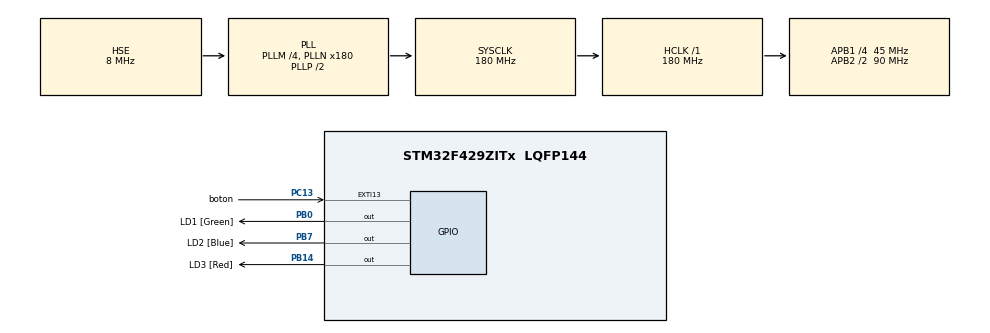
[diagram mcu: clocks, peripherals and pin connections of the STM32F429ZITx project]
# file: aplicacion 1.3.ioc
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Mcu.Family=STM32F4
Mcu.Name=STM32F429ZITx
Mcu.Package=LQFP144
NVIC.PriorityGroup=NVIC_PRIORITYGROUP_4
PB0.GPIO_Label=LD1 [Green]
PB0.Signal=GPIO_Output
PB14.GPIO_Label=LD3 [Red]
PB14.Signal=GPIO_Output
PB7.GPIO_Label=LD2 [Blue]
PB7.Signal=GPIO_Output
PC13.GPIO_Label=boton
PC13.Signal=GPXTI13
PH0/OSC_IN.GPIO_Label=MCO [STM32F103CBT6_PA8]
PH0/OSC_IN.Mode=HSE-External-Oscillator
PH0/OSC_IN.Signal=RCC_OSC_IN
PH1/OSC_OUT.Mode=HSE-External-Oscillator
PH1/OSC_OUT.Signal=RCC_OSC_OUT
ProjectManager.HeapSize=0x200
ProjectManager.StackSize=0x400
ProjectManager.TargetToolchain=STM32CubeIDE
RCC.48MHZClocksFreq_Value=51428571.428571425
RCC.AHBFreq_Value=180000000
RCC.APB1CLKDivider=RCC_HCLK_DIV4
RCC.APB1Freq_Value=45000000
RCC.APB1TimFreq_Value=90000000
RCC.APB2CLKDivider=RCC_HCLK_DIV2
RCC.APB2Freq_Value=90000000
RCC.APB2TimFreq_Value=180000000
RCC.CortexFreq_Value=180000000
RCC.HCLKFreq_Value=180000000
RCC.HSE_VALUE=8000000
RCC.HSI_VALUE=16000000
RCC.LSE_VALUE=32768
RCC.PLLM=4
RCC.PLLMUL=RCC_PLL_MUL9
RCC.PLLN=180
RCC.PLLQ=7
RCC.PLLSourceVirtual=RCC_PLLSOURCE_HSE
RCC.PRESCALERUSB=RCC_USBCLKSOURCE_PLL_DIV1_5
RCC.SYSCLKFreq_VALUE=180000000
RCC.SYSCLKSource=RCC_SYSCLKSOURCE_PLLCLK
RCC.SYSCLKSourceVirtual=RCC_SYSCLKSOURCE_PLLCLK
RCC.USBFreq_Value=48000000
RCC.VCOOutputFreq_Value=360000000
board=NUCLEO-F429ZI

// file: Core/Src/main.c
/* USER CODE BEGIN Header */
/**
  ******************************************************************************
  * @file           : main.c
  * @brief          : Main program body
  ******************************************************************************
  * @attention
  *
  * Copyright (c) 2026 STMicroelectronics.
  * All rights reserved.
  *
  * This software is licensed under terms that can be found in the LICENSE file
  * in the root directory of this software component.
  * If no LICENSE file comes with this software, it is provided AS-IS.
  *
  ******************************************************************************
  */
/* USER CODE END Header */
#include "main.h"

/* USER CODE BEGIN PV */
uint8_t secuencia = 0;
/* USER CODE END PV */

void SystemClock_Config(void);
static void MX_GPIO_Init(void);

int main(void)
{

  /* MCU Configuration--------------------------------------------------------*/

  /* Reset of all peripherals, Initializes the Flash interface and the Systick. */
  HAL_Init();

  /* Configure the system clock */
  SystemClock_Config();

  /* Initialize all configured peripherals */
  MX_GPIO_Init();

  /* Infinite loop */
  while (1)
  {

    /* USER CODE BEGIN 3 */
	    if(HAL_GPIO_ReadPin(boton_GPIO_Port, boton_Pin)==GPIO_PIN_SET){
		  secuencia = secuencia + 1;
	  }
	  if(secuencia > 3){
		  secuencia = 0;
	  }
	  switch(secuencia){
	  case 0:
		HAL_GPIO_WritePin(LD1_GPIO_Port, LD1_Pin, GPIO_PIN_SET);
		HAL_Delay(150);
		HAL_GPIO_WritePin(LD1_GPIO_Port, LD1_Pin, GPIO_PIN_RESET);
		HAL_Delay(150);
	    HAL_GPIO_WritePin(LD2_GPIO_Port, LD2_Pin, GPIO_PIN_SET);
		HAL_Delay(150);
		HAL_GPIO_WritePin(LD2_GPIO_Port, LD2_Pin, GPIO_PIN_RESET);
		HAL_Delay(150);
		HAL_GPIO_WritePin(LD3_GPIO_Port, LD3_Pin, GPIO_PIN_SET);
		HAL_Delay(150);
		HAL_GPIO_WritePin(LD3_GPIO_Port, LD3_Pin, GPIO_PIN_RESET);
		  break;
	  case 1:
	  		  HAL_GPIO_TogglePin(LD1_GPIO_Port, LD1_Pin);
	  		  HAL_GPIO_TogglePin(LD2_GPIO_Port, LD2_Pin);
	  		  HAL_GPIO_TogglePin(LD3_GPIO_Port, LD3_Pin);
	  		  HAL_Delay(300);
	  		  break;
	  case 2:
	  		  HAL_GPIO_TogglePin(LD1_GPIO_Port, LD1_Pin);
	  		HAL_Delay(100);
	  		  HAL_GPIO_TogglePin(LD2_GPIO_Port, LD2_Pin);
	  		HAL_Delay(300);
	  		  HAL_GPIO_TogglePin(LD3_GPIO_Port, LD3_Pin);
	  		  HAL_Delay(600);
	  		  break;
	  case 3:
		  HAL_GPIO_WritePin(LD1_GPIO_Port, LD1_Pin, GPIO_PIN_SET);
		  HAL_GPIO_WritePin(LD3_GPIO_Port, LD3_Pin, GPIO_PIN_SET);
		  HAL_GPIO_WritePin(LD3_GPIO_Port, LD2_Pin, GPIO_PIN_RESET);
		  HAL_Delay(150);
		  HAL_GPIO_WritePin(LD1_GPIO_Port, LD1_Pin, GPIO_PIN_RESET);
		  HAL_GPIO_WritePin(LD3_GPIO_Port, LD3_Pin, GPIO_PIN_RESET);
		  HAL_GPIO_WritePin(LD3_GPIO_Port, LD2_Pin, GPIO_PIN_SET);
	  		  break;
	  }
  }
  /* USER CODE END 3 */
}

void SystemClock_Config(void)
{
  RCC_OscInitTypeDef RCC_OscInitStruct = {0};
  RCC_ClkInitTypeDef RCC_ClkInitStruct = {0};

  /** Configure the main internal regulator output voltage
  */
  __HAL_RCC_PWR_CLK_ENABLE();
  __HAL_PWR_VOLTAGESCALING_CONFIG(PWR_REGULATOR_VOLTAGE_SCALE1);

  /** Initializes the RCC Oscillators according to the specified parameters
  * in the RCC_OscInitTypeDef structure.
  */
  RCC_OscInitStruct.OscillatorType = RCC_OSCILLATORTYPE_HSE;
  RCC_OscInitStruct.HSEState = RCC_HSE_ON;
  RCC_OscInitStruct.PLL.PLLState = RCC_PLL_ON;
  RCC_OscInitStruct.PLL.PLLSource = RCC_PLLSOURCE_HSE;
  RCC_OscInitStruct.PLL.PLLM = 4;
  RCC_OscInitStruct.PLL.PLLN = 180;
  RCC_OscInitStruct.PLL.PLLP = RCC_PLLP_DIV2;
  RCC_OscInitStruct.PLL.PLLQ = 7;
  if (HAL_RCC_OscConfig(&RCC_OscInitStruct) != HAL_OK)
  {
    Error_Handler();
  }

  /** Activate the Over-Drive mode
  */
  if (HAL_PWREx_EnableOverDrive() != HAL_OK)
  {
    Error_Handler();
  }

  /** Initializes the CPU, AHB and APB buses clocks
  */
  RCC_ClkInitStruct.ClockType = RCC_CLOCKTYPE_HCLK|RCC_CLOCKTYPE_SYSCLK
                              |RCC_CLOCKTYPE_PCLK1|RCC_CLOCKTYPE_PCLK2;
  RCC_ClkInitStruct.SYSCLKSource = RCC_SYSCLKSOURCE_PLLCLK;
  RCC_ClkInitStruct.AHBCLKDivider = RCC_SYSCLK_DIV1;
  RCC_ClkInitStruct.APB1CLKDivider = RCC_HCLK_DIV4;
  RCC_ClkInitStruct.APB2CLKDivider = RCC_HCLK_DIV2;

  if (HAL_RCC_ClockConfig(&RCC_ClkInitStruct, FLASH_LATENCY_5) != HAL_OK)
  {
    Error_Handler();
  }
}

static void MX_GPIO_Init(void)
{
  GPIO_InitTypeDef GPIO_InitStruct = {0};

  /* GPIO Ports Clock Enable */
  __HAL_RCC_GPIOC_CLK_ENABLE();
  __HAL_RCC_GPIOH_CLK_ENABLE();
  __HAL_RCC_GPIOB_CLK_ENABLE();

  /*Configure GPIO pin Output Level */
  HAL_GPIO_WritePin(GPIOB, LD1_Pin|LD3_Pin|LD2_Pin, GPIO_PIN_RESET);

  /*Configure GPIO pin : boton_Pin */
  GPIO_InitStruct.Pin = boton_Pin;
  GPIO_InitStruct.Mode = GPIO_MODE_IT_RISING;
  GPIO_InitStruct.Pull = GPIO_NOPULL;
  HAL_GPIO_Init(boton_GPIO_Port, &GPIO_InitStruct);

  /*Configure GPIO pins : LD1_Pin LD3_Pin LD2_Pin */
  GPIO_InitStruct.Pin = LD1_Pin|LD3_Pin|LD2_Pin;
  GPIO_InitStruct.Mode = GPIO_MODE_OUTPUT_PP;
  GPIO_InitStruct.Pull = GPIO_NOPULL;
  GPIO_InitStruct.Speed = GPIO_SPEED_FREQ_LOW;
  HAL_GPIO_Init(GPIOB, &GPIO_InitStruct);

}

void Error_Handler(void)
{
  __disable_irq();
  while (1)
  {
  }
}
